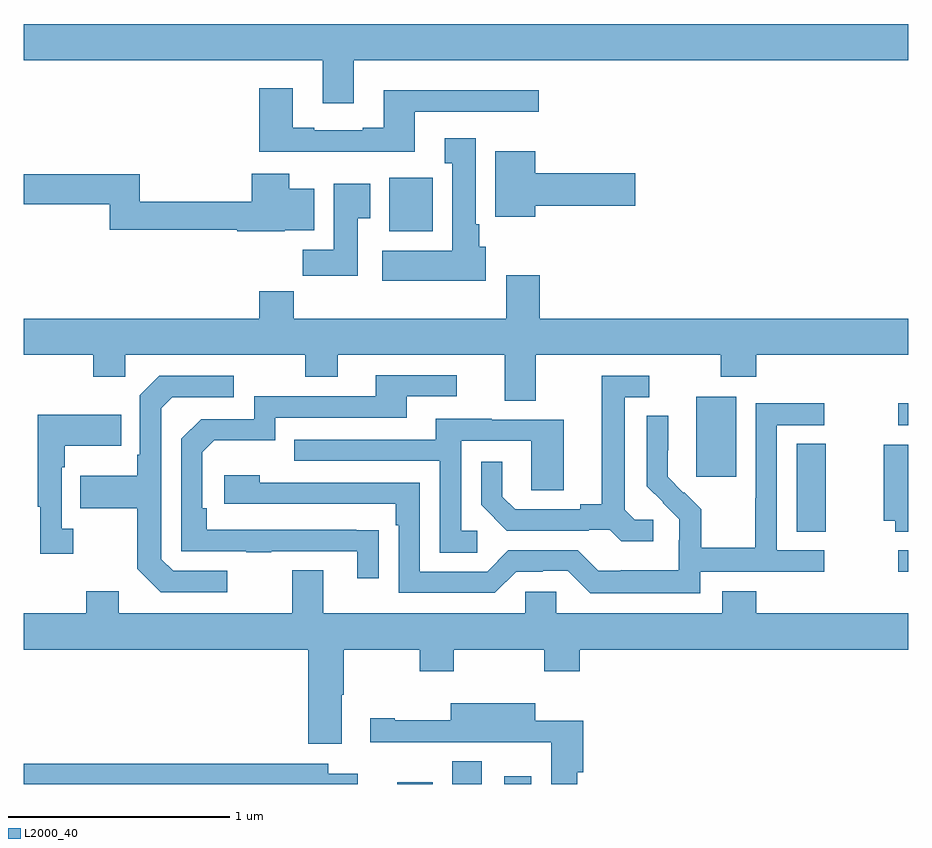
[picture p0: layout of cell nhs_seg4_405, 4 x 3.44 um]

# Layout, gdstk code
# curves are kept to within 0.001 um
import gdstk
lib = gdstk.Library(unit=1e-6, precision=1e-09)
def R(c, l, rs):  # rectangles x0, y0, x1, y1
    for r in rs: c.add(gdstk.rectangle(r[:2], r[2:], *l))
def P(c, l, *ps):  # polygons
    for p in ps: c.add(gdstk.Polygon(p, *l))
L2000_40 = (2000, 40)

nhs_seg4_405 = lib.new_cell('nhs_seg4_405')
R(nhs_seg4_405, L2000_40, [(132.689,774.9,132.85,774.907), (132.938,774.9,133.072,775.003), (133.172,774.9,133.294,774.934), (134.955,775.86,135,775.956), (134.495,776.041,134.626,776.438), (134.042,776.289,134.221,776.65), (134.955,776.523,135,776.622), (132.653,777.398,132.85,777.64)])
P(nhs_seg4_405, L2000_40, [(132.493,778.172),(135,778.172),(135,778.336),(131,778.336),(131,778.172),(132.353,778.172),(132.353,777.978),(132.493,777.978)],
  [(132.769,777.939),(133.33,777.939),(133.33,778.036),(132.629,778.036),(132.629,777.868),(132.533,777.868),(132.533,777.855),(132.313,777.855),(132.313,777.868),(132.217,777.868),(132.217,778.045),(132.065,778.045),(132.065,777.758),(132.769,777.758)],
  [(133.09,777.33),(133.06,777.33),(133.06,777.43),(133.045,777.43),(133.045,777.82),(132.905,777.82),(132.905,777.707),(132.938,777.707),(132.938,777.31),(132.621,777.31),(132.621,777.176),(133.09,777.176)],
  [(133.312,777.515),(133.765,777.515),(133.765,777.662),(133.312,777.662),(133.312,777.76),(133.133,777.76),(133.133,777.464),(133.312,777.464)],
  [(132.18,777.404),(132.313,777.404),(132.313,777.592),(132.202,777.592),(132.202,777.658),(132.032,777.658),(132.032,777.533),(131.525,777.533),(131.525,777.656),(131,777.656),(131,777.52),(131.389,777.52),(131.389,777.405),(131.966,777.405),(131.966,777.398),(132.18,777.398)],
  [(132.511,777.457),(132.568,777.457),(132.568,777.613),(132.401,777.613),(132.401,777.316),(132.262,777.316),(132.262,777.198),(132.511,777.198)],
  [(133.315,776.84),(134.152,776.84),(134.152,776.741),(134.312,776.741),(134.312,776.84),(135,776.84),(135,777.004),(133.334,777.004),(133.334,777.199),(133.181,777.199),(133.181,777.004),(132.221,777.004),(132.221,777.128),(132.065,777.128),(132.065,777.004),(131,777.004),(131,776.84),(131.314,776.84),(131.314,776.741),(131.46,776.741),(131.46,776.84),(132.274,776.84),(132.274,776.741),(132.421,776.741),(132.421,776.84),(133.175,776.84),(133.175,776.632),(133.315,776.632)],
  [(132.605,776.048),(131.828,776.049),(131.828,776.146),(131.808,776.146),(131.808,776.4),(131.861,776.453),(132.138,776.453),(132.138,776.556),(132.733,776.556),(132.733,776.652),(132.958,776.652),(132.958,776.748),(132.593,776.748),(132.593,776.652),(132.042,776.652),(132.042,776.55),(131.802,776.55),(131.712,776.46),(131.712,775.953),(132.007,775.953),(132.007,775.948),(132.119,775.948),(132.119,775.953),(132.509,775.953),(132.509,775.83),(132.605,775.83)],
  [(133.846,776.094),(133.764,776.094),(133.717,776.141),(133.717,776.649),(133.828,776.649),(133.828,776.745),(133.613,776.745),(133.613,776.165),(133.517,776.165),(133.517,776.142),(133.222,776.142),(133.165,776.199),(133.165,776.356),(133.068,776.356),(133.068,776.162),(133.184,776.046),(133.556,776.046),(133.556,776.049),(133.65,776.049),(133.702,775.997),(133.846,775.997)],
  [(131.92,775.863),(131.676,775.863),(131.622,775.917),(131.622,776.598),(131.673,776.649),(131.95,776.649),(131.95,776.745),(131.613,776.745),(131.526,776.658),(131.526,776.389),(131.514,776.389),(131.514,776.293),(131.257,776.293),(131.257,776.146),(131.514,776.146),(131.514,775.873),(131.619,775.767),(131.92,775.767)],
  [(134.058,775.86),(134.62,775.86),(134.62,775.956),(134.406,775.956),(134.406,776.523),(134.62,776.523),(134.62,776.622),(134.31,776.622),(134.31,776.192),(134.308,776.192),(134.308,775.969),(134.063,775.969),(134.063,776.143),(133.986,776.22),(133.983,776.217),(133.913,776.288),(133.914,776.564),(133.818,776.564),(133.818,776.246),(133.964,776.098),(133.964,776.001),(133.962,776.001),(133.962,775.867),(133.699,775.867),(133.699,775.863),(133.599,775.863),(133.506,775.956),(133.191,775.956),(133.095,775.86),(132.792,775.86),(132.792,776.262),(132.068,776.262),(132.068,776.296),(131.907,776.296),(131.907,776.166),(132.683,776.166),(132.683,776.069),(132.696,776.069),(132.696,775.764),(133.131,775.764),(133.227,775.86),(133.346,775.86),(133.346,775.863),(133.461,775.863),(133.561,775.763),(134.058,775.763)],
  [(131.224,776.054),(131.172,776.054),(131.172,776.333),(131.185,776.333),(131.185,776.429),(131.441,776.429),(131.441,776.569),(131.064,776.569),(131.064,776.153),(131.075,776.153),(131.075,775.941),(131.224,775.941)],
  [(133.051,776.046),(132.978,776.046),(132.978,776.451),(133.296,776.451),(133.296,776.227),(133.441,776.227),(133.441,776.547),(133.117,776.547),(133.117,776.551),(132.863,776.551),(132.863,776.457),(132.223,776.457),(132.223,776.361),(132.882,776.361),(132.882,775.945),(133.051,775.945)],
  [(135,776.434),(134.888,776.434),(134.888,776.09),(134.941,776.09),(134.941,776.041),(135,776.041)],
  [(132.439,775.304),(132.447,775.304),(132.447,775.508),(132.79,775.508),(132.79,775.409),(132.945,775.409),(132.945,775.508),(133.354,775.508),(133.354,775.409),(133.514,775.409),(133.514,775.508),(135,775.508),(135,775.672),(134.312,775.672),(134.312,775.771),(134.159,775.771),(134.159,775.672),(133.407,775.672),(133.407,775.77),(133.269,775.77),(133.269,775.672),(132.355,775.672),(132.355,775.867),(132.215,775.867),(132.215,775.672),(131.431,775.672),(131.431,775.771),(131.284,775.771),(131.284,775.672),(131,775.672),(131,775.508),(132.287,775.508),(132.287,775.083),(132.439,775.083)],
  [(133.502,774.953),(133.529,774.953),(133.529,775.185),(133.312,775.185),(133.312,775.264),(132.932,775.264),(132.932,775.188),(132.679,775.188),(132.679,775.198),(132.567,775.198),(132.567,775.088),(132.836,775.088),(132.836,775.089),(133.068,775.089),(133.068,775.088),(133.386,775.088),(133.386,774.9),(133.502,774.9)],
  [(132.511,774.946),(132.378,774.946),(132.378,774.992),(131,774.992),(131,774.9),(132.511,774.9)])

lib.write_gds('nhs_seg4_405.gds')
